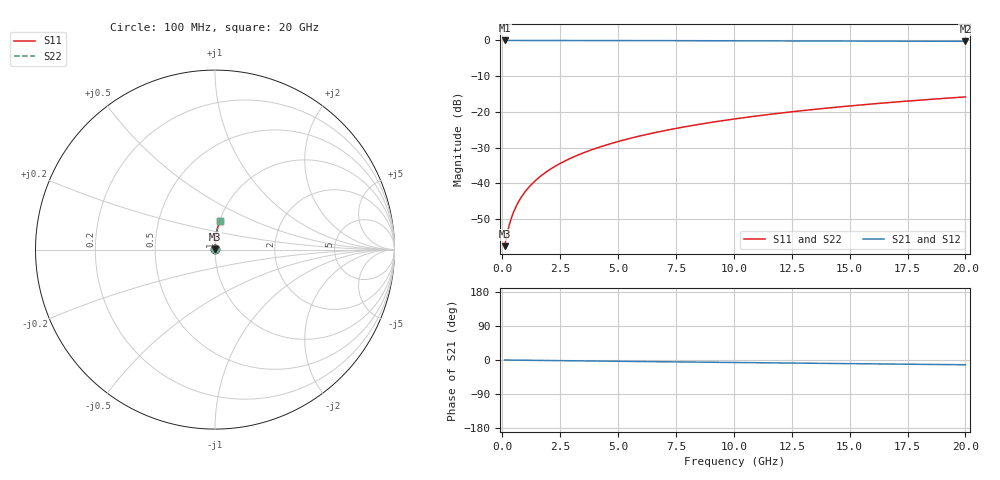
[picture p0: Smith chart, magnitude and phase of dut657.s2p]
! Touchstone file exported from HFSS 2024.1.0
!  File:  C:/UserFiles/LocalFiles/RDL_TSV_Batchsim/temp_RDL_top_657_1779781572.aedt
!  Generated:  03:48:24 PM May 26, 2026
!  Design:  RDL_top
!  Project:  temp_RDL_top_657_1779781572
!  Setup:  Setup1
!  Solution:  Sweep
! Variables:
!  dtsv = 10.80580581um
!  hbump = 3um
!  htsv = 99.43um
!  ldown = 100um
!  lrdl = 118.83um
!  p = 40
!  p1 = 54.91um
!  rhole = 1um
!  t = 450um
!  tdown = 3.915915916um
!  trdl = 2.82um
!  wdown = 15.38538539um
!  wrdl = 19.39um
# GHz S MA R 50.000000
! Terminal data exported
! Port[1] = Box2_T1
! Port[2] = Box2_T2
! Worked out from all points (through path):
!   200 points, 100 MHz to 20 GHz, reference 50 ohm
!   highest |S21| = -0.01 dB at 100 MHz (marker M1); lowest = -0.2 dB at 20 GHz (marker M2)
!   group delay of S21, straight-line fit = 1.73 ps
!   lowest |S11| = -57.6 dB at 100 MHz (marker M3), VSWR 1.00, Z = 50.1 + j0.0796 ohm
!   |S11| at or under -10 dB: start of sweep to end of sweep
!   |S22| runs from -57.6 to -15.8 dB; largest |S21 - S12| = 3.6e-15
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0.1  0.001314 37.2  0.999 -0.1  0.999 -0.1  0.001314 37.2
! Gamma 0 0 0 0
! Port Impedance 50 0 50 0
0.2  0.001908 55.9  0.9989 -0.1  0.9989 -0.1  0.001908 55.9
0.3  0.002598 65.0  0.9989 -0.2  0.9989 -0.2  0.002598 65.0
0.4  0.003314 70.1  0.9988 -0.3  0.9988 -0.3  0.003314 70.1
0.5  0.004039 73.4  0.9988 -0.4  0.9988 -0.4  0.004039 73.4
0.6  0.004767 75.7  0.9988 -0.4  0.9988 -0.4  0.004767 75.7
0.8  0.006229 78.8  0.9987 -0.6  0.9987 -0.6  0.006229 78.8
1.1  0.008439 81.6  0.9986 -0.8  0.9986 -0.8  0.008439 81.6
1.5  0.01141 83.7  0.9984 -1.0  0.9984 -1.0  0.01141 83.7
1.8  0.01366 84.8  0.9982 -1.2  0.9982 -1.2  0.01366 84.8
2.1  0.01592 85.5  0.998 -1.5  0.998 -1.5  0.01592 85.5
2.7  0.02047 86.5  0.9976 -1.9  0.9976 -1.9  0.02047 86.5
3.5  0.02662 87.2  0.9969 -2.4  0.9969 -2.4  0.02662 87.2
4.2  0.03207 87.6  0.9962 -2.9  0.9962 -2.9  0.03207 87.6
5  0.03838 87.7  0.9953 -3.4  0.9953 -3.4  0.03838 87.7
5.9  0.04558 87.7  0.9941 -4.0  0.9941 -4.0  0.04558 87.7
6.8  0.05286 87.6  0.9929 -4.6  0.9929 -4.6  0.05286 87.6
8.3  0.06516 87.1  0.9908 -5.5  0.9908 -5.5  0.06516 87.1
10.1  0.08009 86.2  0.9882 -6.6  0.9882 -6.6  0.08009 86.2
13.4  0.1076 84.3  0.9832 -8.7  0.9832 -8.7  0.1076 84.3
16.7  0.1349 82.2  0.978 -10.6  0.978 -10.6  0.1349 82.2
20  0.1618 80.0  0.9725 -12.6  0.9725 -12.6  0.1618 80.0
